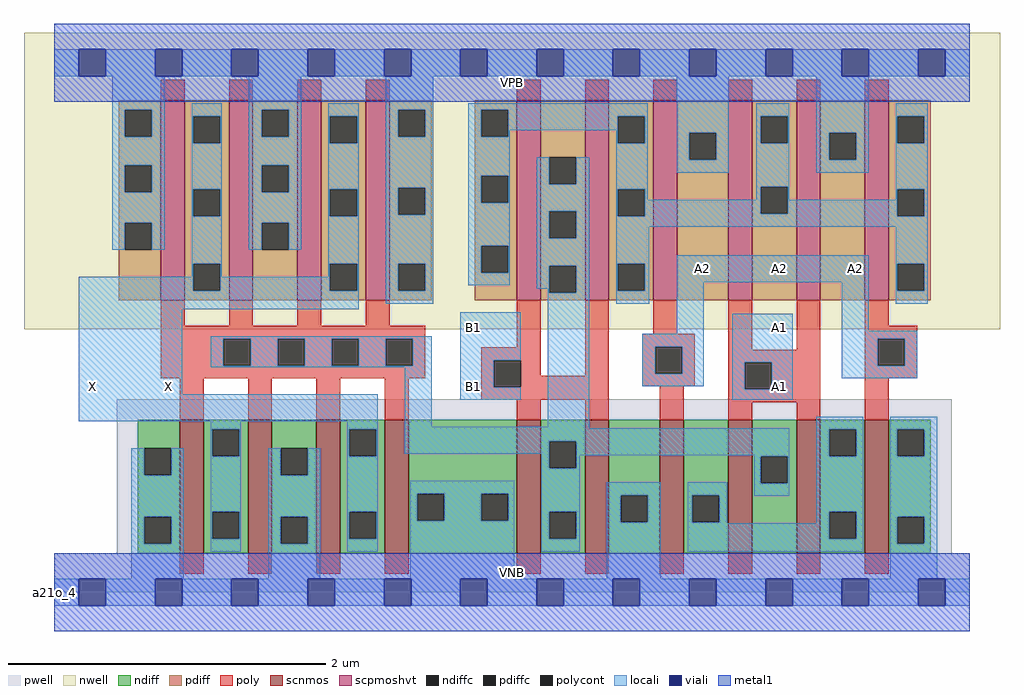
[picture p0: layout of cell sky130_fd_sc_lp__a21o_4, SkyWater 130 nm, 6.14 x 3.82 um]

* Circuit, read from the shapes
.subckt sky130_fd_sc_lp__a21o_4 A1 A2 B1 VGND VNB VPB VPWR X
XM1 X n1 VGND VNB sky130_fd_pr__nfet_01v8 w=0.84 l=0.15 m=4
XM2 n1 B1 VGND VNB sky130_fd_pr__nfet_01v8 w=0.84 l=0.15 m=2
XM3 n2 A2 VGND VNB sky130_fd_pr__nfet_01v8 w=0.84 l=0.15 m=2
XM4 n1 A1 n2 VNB sky130_fd_pr__nfet_01v8 w=0.84 l=0.15 m=2
XM5 X n1 VPWR VPB sky130_fd_pr__pfet_01v8_hvt w=1.26 l=0.15 m=4
XM6 n1 B1 n3 VPB sky130_fd_pr__pfet_01v8_hvt w=1.26 l=0.15 m=2
XM7 VPWR A2 n3 VPB sky130_fd_pr__pfet_01v8_hvt w=1.26 l=0.15 m=2
XM8 n3 A1 VPWR VPB sky130_fd_pr__pfet_01v8_hvt w=1.26 l=0.15 m=2
.ends

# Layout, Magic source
magic
tech sky130A
magscale 1 2
<< nwell >>
rect -38 331 1190 704
<< pwell >>
rect 79 49 1129 243
rect 0 0 1152 49
<< scnmos >>
rect 158 49 188 217
rect 244 49 274 217
rect 330 49 360 217
rect 416 49 446 217
rect 582 49 612 217
rect 668 49 698 217
rect 762 49 792 217
rect 848 49 878 217
rect 934 49 964 217
rect 1020 49 1050 217
<< scpmoshvt >>
rect 134 367 164 619
rect 220 367 250 619
rect 306 367 336 619
rect 392 367 422 619
rect 582 367 612 619
rect 668 367 698 619
rect 754 367 784 619
rect 848 367 878 619
rect 934 367 964 619
rect 1020 367 1050 619
<< ndiff >>
rect 105 181 158 217
rect 105 147 113 181
rect 147 147 158 181
rect 105 95 158 147
rect 105 61 113 95
rect 147 61 158 95
rect 105 49 158 61
rect 188 205 244 217
rect 188 171 199 205
rect 233 171 244 205
rect 188 101 244 171
rect 188 67 199 101
rect 233 67 244 101
rect 188 49 244 67
rect 274 181 330 217
rect 274 147 285 181
rect 319 147 330 181
rect 274 95 330 147
rect 274 61 285 95
rect 319 61 330 95
rect 274 49 330 61
rect 360 205 416 217
rect 360 171 371 205
rect 405 171 416 205
rect 360 101 416 171
rect 360 67 371 101
rect 405 67 416 101
rect 360 49 416 67
rect 446 124 582 217
rect 446 90 457 124
rect 491 90 537 124
rect 571 90 582 124
rect 446 49 582 90
rect 612 190 668 217
rect 612 156 623 190
rect 657 156 668 190
rect 612 101 668 156
rect 612 67 623 101
rect 657 67 668 101
rect 612 49 668 67
rect 698 122 762 217
rect 698 88 713 122
rect 747 88 762 122
rect 698 49 762 88
rect 792 122 848 217
rect 792 88 803 122
rect 837 88 848 122
rect 792 49 848 88
rect 878 171 934 217
rect 878 137 889 171
rect 923 137 934 171
rect 878 49 934 137
rect 964 205 1020 217
rect 964 171 975 205
rect 1009 171 1020 205
rect 964 101 1020 171
rect 964 67 975 101
rect 1009 67 1020 101
rect 964 49 1020 67
rect 1050 205 1103 217
rect 1050 171 1061 205
rect 1095 171 1103 205
rect 1050 95 1103 171
rect 1050 61 1061 95
rect 1095 61 1103 95
rect 1050 49 1103 61
<< pdiff >>
rect 81 607 134 619
rect 81 573 89 607
rect 123 573 134 607
rect 81 537 134 573
rect 81 503 89 537
rect 123 503 134 537
rect 81 465 134 503
rect 81 431 89 465
rect 123 431 134 465
rect 81 367 134 431
rect 164 599 220 619
rect 164 565 175 599
rect 209 565 220 599
rect 164 507 220 565
rect 164 473 175 507
rect 209 473 220 507
rect 164 413 220 473
rect 164 379 175 413
rect 209 379 220 413
rect 164 367 220 379
rect 250 607 306 619
rect 250 573 261 607
rect 295 573 306 607
rect 250 537 306 573
rect 250 503 261 537
rect 295 503 306 537
rect 250 465 306 503
rect 250 431 261 465
rect 295 431 306 465
rect 250 367 306 431
rect 336 599 392 619
rect 336 565 347 599
rect 381 565 392 599
rect 336 507 392 565
rect 336 473 347 507
rect 381 473 392 507
rect 336 413 392 473
rect 336 379 347 413
rect 381 379 392 413
rect 336 367 392 379
rect 422 607 475 619
rect 422 573 433 607
rect 467 573 475 607
rect 422 509 475 573
rect 422 475 433 509
rect 467 475 475 509
rect 422 413 475 475
rect 422 379 433 413
rect 467 379 475 413
rect 422 367 475 379
rect 529 607 582 619
rect 529 573 537 607
rect 571 573 582 607
rect 529 524 582 573
rect 529 490 537 524
rect 571 490 582 524
rect 529 436 582 490
rect 529 402 537 436
rect 571 402 582 436
rect 529 367 582 402
rect 612 547 668 619
rect 612 513 623 547
rect 657 513 668 547
rect 612 479 668 513
rect 612 445 623 479
rect 657 445 668 479
rect 612 411 668 445
rect 612 377 623 411
rect 657 377 668 411
rect 612 367 668 377
rect 698 599 754 619
rect 698 565 709 599
rect 743 565 754 599
rect 698 507 754 565
rect 698 473 709 507
rect 743 473 754 507
rect 698 413 754 473
rect 698 379 709 413
rect 743 379 754 413
rect 698 367 754 379
rect 784 578 848 619
rect 784 544 799 578
rect 833 544 848 578
rect 784 367 848 544
rect 878 599 934 619
rect 878 565 889 599
rect 923 565 934 599
rect 878 510 934 565
rect 878 476 889 510
rect 923 476 934 510
rect 878 367 934 476
rect 964 578 1020 619
rect 964 544 975 578
rect 1009 544 1020 578
rect 964 367 1020 544
rect 1050 599 1103 619
rect 1050 565 1061 599
rect 1095 565 1103 599
rect 1050 507 1103 565
rect 1050 473 1061 507
rect 1095 473 1103 507
rect 1050 413 1103 473
rect 1050 379 1061 413
rect 1095 379 1103 413
rect 1050 367 1103 379
<< ndiffc >>
rect 113 147 147 181
rect 113 61 147 95
rect 199 171 233 205
rect 199 67 233 101
rect 285 147 319 181
rect 285 61 319 95
rect 371 171 405 205
rect 371 67 405 101
rect 457 90 491 124
rect 537 90 571 124
rect 623 156 657 190
rect 623 67 657 101
rect 713 88 747 122
rect 803 88 837 122
rect 889 137 923 171
rect 975 171 1009 205
rect 975 67 1009 101
rect 1061 171 1095 205
rect 1061 61 1095 95
<< pdiffc >>
rect 89 573 123 607
rect 89 503 123 537
rect 89 431 123 465
rect 175 565 209 599
rect 175 473 209 507
rect 175 379 209 413
rect 261 573 295 607
rect 261 503 295 537
rect 261 431 295 465
rect 347 565 381 599
rect 347 473 381 507
rect 347 379 381 413
rect 433 573 467 607
rect 433 475 467 509
rect 433 379 467 413
rect 537 573 571 607
rect 537 490 571 524
rect 537 402 571 436
rect 623 513 657 547
rect 623 445 657 479
rect 623 377 657 411
rect 709 565 743 599
rect 709 473 743 507
rect 709 379 743 413
rect 799 544 833 578
rect 889 565 923 599
rect 889 476 923 510
rect 975 544 1009 578
rect 1061 565 1095 599
rect 1061 473 1095 507
rect 1061 379 1095 413
<< poly >>
rect 134 619 164 645
rect 220 619 250 645
rect 306 619 336 645
rect 392 619 422 645
rect 582 619 612 645
rect 668 619 698 645
rect 754 619 784 645
rect 848 619 878 645
rect 934 619 964 645
rect 1020 619 1050 645
rect 134 335 164 367
rect 220 335 250 367
rect 306 335 336 367
rect 392 335 422 367
rect 134 319 467 335
rect 134 285 213 319
rect 247 285 281 319
rect 315 285 349 319
rect 383 285 417 319
rect 451 285 467 319
rect 582 308 612 367
rect 134 269 467 285
rect 537 292 612 308
rect 158 217 188 269
rect 244 217 274 269
rect 330 217 360 269
rect 416 217 446 269
rect 537 258 553 292
rect 587 272 612 292
rect 668 272 698 367
rect 754 325 784 367
rect 587 258 698 272
rect 740 309 806 325
rect 740 275 756 309
rect 790 275 806 309
rect 740 259 806 275
rect 848 305 878 367
rect 934 305 964 367
rect 848 289 964 305
rect 537 242 698 258
rect 582 217 612 242
rect 668 217 698 242
rect 762 217 792 259
rect 848 255 869 289
rect 903 255 964 289
rect 848 239 964 255
rect 848 217 878 239
rect 934 217 964 239
rect 1020 335 1050 367
rect 1020 319 1086 335
rect 1020 285 1036 319
rect 1070 285 1086 319
rect 1020 269 1086 285
rect 1020 217 1050 269
rect 158 23 188 49
rect 244 23 274 49
rect 330 23 360 49
rect 416 23 446 49
rect 582 23 612 49
rect 668 23 698 49
rect 762 23 792 49
rect 848 23 878 49
rect 934 23 964 49
rect 1020 23 1050 49
<< polycont >>
rect 213 285 247 319
rect 281 285 315 319
rect 349 285 383 319
rect 417 285 451 319
rect 553 258 587 292
rect 756 275 790 309
rect 869 255 903 289
rect 1036 285 1070 319
<< locali >>
rect 0 649 31 683
rect 65 649 127 683
rect 161 649 223 683
rect 257 649 319 683
rect 353 649 415 683
rect 449 649 511 683
rect 545 649 607 683
rect 641 649 703 683
rect 737 649 799 683
rect 833 649 895 683
rect 929 649 991 683
rect 1025 649 1087 683
rect 1121 649 1152 683
rect 73 607 139 649
rect 73 573 89 607
rect 123 573 139 607
rect 73 537 139 573
rect 73 503 89 537
rect 123 503 139 537
rect 73 465 139 503
rect 73 431 89 465
rect 123 431 139 465
rect 173 599 211 615
rect 173 565 175 599
rect 209 565 211 599
rect 173 507 211 565
rect 173 473 175 507
rect 209 473 211 507
rect 173 413 211 473
rect 245 607 311 649
rect 245 573 261 607
rect 295 573 311 607
rect 245 537 311 573
rect 245 503 261 537
rect 295 503 311 537
rect 245 465 311 503
rect 245 431 261 465
rect 295 431 311 465
rect 345 599 383 615
rect 345 565 347 599
rect 381 565 383 599
rect 345 507 383 565
rect 345 473 347 507
rect 381 473 383 507
rect 173 397 175 413
rect 31 379 175 397
rect 209 397 211 413
rect 345 413 383 473
rect 345 397 347 413
rect 209 379 347 397
rect 381 379 383 413
rect 31 356 383 379
rect 417 607 477 649
rect 417 573 433 607
rect 467 573 477 607
rect 417 509 477 573
rect 417 475 433 509
rect 467 475 477 509
rect 417 413 477 475
rect 417 379 433 413
rect 467 379 477 413
rect 521 607 747 615
rect 521 573 537 607
rect 571 599 747 607
rect 571 581 709 599
rect 571 573 573 581
rect 521 524 573 573
rect 707 565 709 581
rect 743 565 747 599
rect 521 490 537 524
rect 571 490 573 524
rect 521 436 573 490
rect 521 402 537 436
rect 571 402 573 436
rect 521 386 573 402
rect 607 513 623 547
rect 657 513 673 547
rect 607 479 673 513
rect 607 445 623 479
rect 657 445 673 479
rect 607 411 673 445
rect 607 382 623 411
rect 417 363 477 379
rect 621 377 623 382
rect 657 377 673 411
rect 31 249 161 356
rect 197 319 475 322
rect 197 285 213 319
rect 247 285 281 319
rect 315 285 349 319
rect 383 285 417 319
rect 451 285 475 319
rect 197 283 475 285
rect 31 215 407 249
rect 197 205 235 215
rect 97 147 113 181
rect 147 147 163 181
rect 97 95 163 147
rect 97 61 113 95
rect 147 61 163 95
rect 97 17 163 61
rect 197 171 199 205
rect 233 171 235 205
rect 369 205 407 215
rect 197 101 235 171
rect 197 67 199 101
rect 233 67 235 101
rect 197 51 235 67
rect 269 147 285 181
rect 319 147 335 181
rect 269 95 335 147
rect 269 61 285 95
rect 319 61 335 95
rect 269 17 335 61
rect 369 171 371 205
rect 405 171 407 205
rect 441 208 475 283
rect 511 292 587 352
rect 511 258 553 292
rect 511 242 587 258
rect 621 208 673 377
rect 707 507 747 565
rect 783 578 849 649
rect 783 544 799 578
rect 833 544 849 578
rect 783 528 849 544
rect 883 599 925 615
rect 883 565 889 599
rect 923 565 925 599
rect 707 473 709 507
rect 743 494 747 507
rect 883 510 925 565
rect 959 578 1025 649
rect 959 544 975 578
rect 1009 544 1025 578
rect 959 528 1025 544
rect 1059 599 1099 615
rect 1059 565 1061 599
rect 1095 565 1099 599
rect 883 494 889 510
rect 743 476 889 494
rect 923 494 925 510
rect 1059 507 1099 565
rect 1059 494 1061 507
rect 923 476 1061 494
rect 743 473 1061 476
rect 1095 473 1099 507
rect 707 460 1099 473
rect 707 413 749 460
rect 707 379 709 413
rect 743 379 749 413
rect 707 363 749 379
rect 783 390 1025 424
rect 783 325 817 390
rect 740 309 817 325
rect 740 275 756 309
rect 790 275 817 309
rect 740 259 817 275
rect 853 289 929 350
rect 853 255 869 289
rect 903 255 929 289
rect 991 329 1025 390
rect 1059 413 1099 460
rect 1059 379 1061 413
rect 1095 379 1099 413
rect 1059 363 1099 379
rect 991 319 1086 329
rect 991 285 1036 319
rect 1070 285 1086 319
rect 991 269 1086 285
rect 853 242 929 255
rect 441 206 673 208
rect 441 190 925 206
rect 441 174 623 190
rect 369 101 407 171
rect 613 156 623 174
rect 657 172 925 190
rect 657 156 661 172
rect 369 67 371 101
rect 405 67 407 101
rect 369 51 407 67
rect 448 124 579 140
rect 448 90 457 124
rect 491 90 537 124
rect 571 90 579 124
rect 448 17 579 90
rect 613 101 661 156
rect 881 171 925 172
rect 613 67 623 101
rect 657 67 661 101
rect 613 51 661 67
rect 695 122 763 138
rect 695 88 713 122
rect 747 88 763 122
rect 695 17 763 88
rect 797 122 847 138
rect 797 88 803 122
rect 837 88 847 122
rect 881 137 889 171
rect 923 137 925 171
rect 881 121 925 137
rect 959 205 1018 221
rect 959 171 975 205
rect 1009 171 1018 205
rect 797 87 847 88
rect 959 101 1018 171
rect 959 87 975 101
rect 797 67 975 87
rect 1009 67 1018 101
rect 797 51 1018 67
rect 1052 205 1111 221
rect 1052 171 1061 205
rect 1095 171 1111 205
rect 1052 95 1111 171
rect 1052 61 1061 95
rect 1095 61 1111 95
rect 1052 17 1111 61
rect 0 -17 31 17
rect 65 -17 127 17
rect 161 -17 223 17
rect 257 -17 319 17
rect 353 -17 415 17
rect 449 -17 511 17
rect 545 -17 607 17
rect 641 -17 703 17
rect 737 -17 799 17
rect 833 -17 895 17
rect 929 -17 991 17
rect 1025 -17 1087 17
rect 1121 -17 1152 17
<< viali >>
rect 31 649 65 683
rect 127 649 161 683
rect 223 649 257 683
rect 319 649 353 683
rect 415 649 449 683
rect 511 649 545 683
rect 607 649 641 683
rect 703 649 737 683
rect 799 649 833 683
rect 895 649 929 683
rect 991 649 1025 683
rect 1087 649 1121 683
rect 31 -17 65 17
rect 127 -17 161 17
rect 223 -17 257 17
rect 319 -17 353 17
rect 415 -17 449 17
rect 511 -17 545 17
rect 607 -17 641 17
rect 703 -17 737 17
rect 799 -17 833 17
rect 895 -17 929 17
rect 991 -17 1025 17
rect 1087 -17 1121 17
<< metal1 >>
rect 0 683 1152 715
rect 0 649 31 683
rect 65 649 127 683
rect 161 649 223 683
rect 257 649 319 683
rect 353 649 415 683
rect 449 649 511 683
rect 545 649 607 683
rect 641 649 703 683
rect 737 649 799 683
rect 833 649 895 683
rect 929 649 991 683
rect 1025 649 1087 683
rect 1121 649 1152 683
rect 0 617 1152 649
rect 0 17 1152 49
rect 0 -17 31 17
rect 65 -17 127 17
rect 161 -17 223 17
rect 257 -17 319 17
rect 353 -17 415 17
rect 449 -17 511 17
rect 545 -17 607 17
rect 641 -17 703 17
rect 737 -17 799 17
rect 833 -17 895 17
rect 929 -17 991 17
rect 1025 -17 1087 17
rect 1121 -17 1152 17
rect 0 -49 1152 -17
<< labels >>
flabel pwell s 0 0 1152 49 0 FreeSans 200 0 0 0 VNB
port 5 nsew ground bidirectional
flabel nwell s 0 617 1152 666 0 FreeSans 200 0 0 0 VPB
port 6 nsew power bidirectional
rlabel comment s 0 0 0 0 4 a21o_4
flabel metal1 s 0 617 1152 666 0 FreeSans 340 0 0 0 VPWR
port 7 nsew power bidirectional
flabel metal1 s 0 0 1152 49 0 FreeSans 340 0 0 0 VGND
port 4 nsew ground bidirectional
flabel locali s 895 242 929 276 0 FreeSans 340 0 0 0 A1
port 1 nsew signal input
flabel locali s 895 316 929 350 0 FreeSans 340 0 0 0 A1
port 1 nsew signal input
flabel locali s 799 390 833 424 0 FreeSans 340 0 0 0 A2
port 2 nsew signal input
flabel locali s 895 390 929 424 0 FreeSans 340 0 0 0 A2
port 2 nsew signal input
flabel locali s 991 390 1025 424 0 FreeSans 340 0 0 0 A2
port 2 nsew signal input
flabel locali s 511 242 545 276 0 FreeSans 340 0 0 0 B1
port 3 nsew signal input
flabel locali s 511 316 545 350 0 FreeSans 340 0 0 0 B1
port 3 nsew signal input
flabel locali s 31 242 65 276 0 FreeSans 340 0 0 0 X
port 8 nsew signal output
flabel locali s 127 242 161 276 0 FreeSans 340 0 0 0 X
port 8 nsew signal output
<< properties >>
string LEFsite unit
string LEFclass CORE
string FIXED_BBOX 0 0 1152 666
string GDS_FILE $PDKPATH/libs.ref/sky130_fd_sc_lp/gds/sky130_fd_sc_lp.gds
string LEFsymmetry X Y R90
string GDS_END 2561416
string GDS_START 2551374
<< end >>
